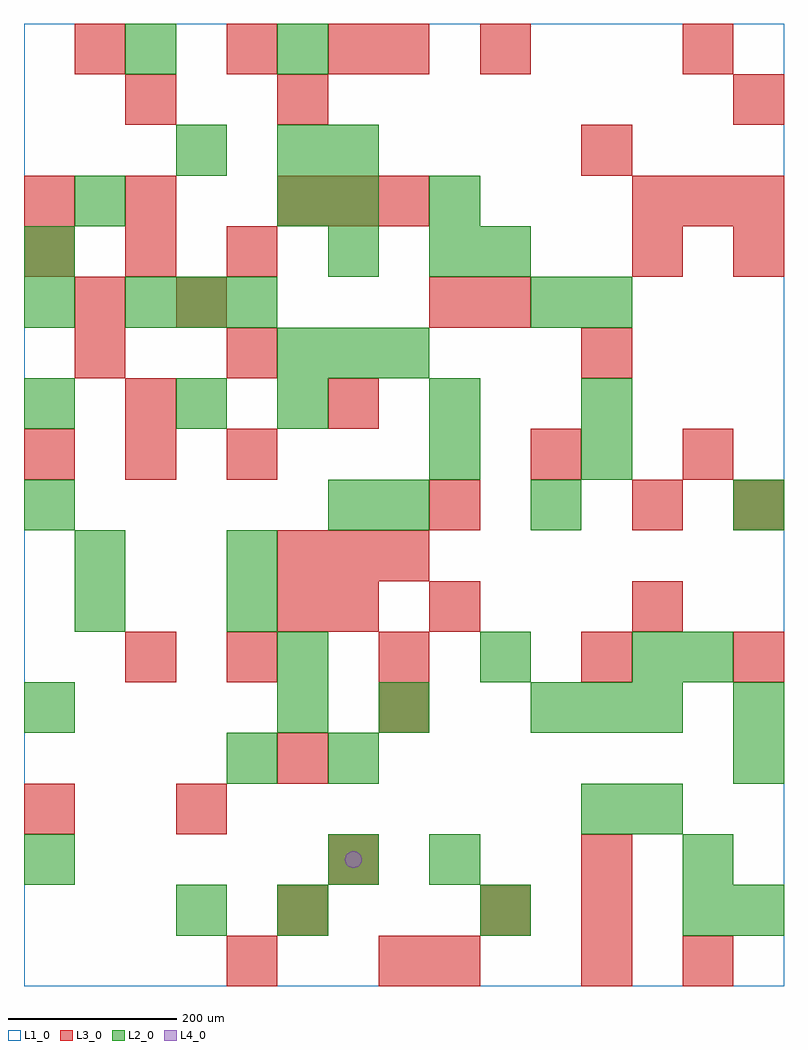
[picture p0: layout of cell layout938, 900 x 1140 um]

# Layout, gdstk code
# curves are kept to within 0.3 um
import gdstk
lib = gdstk.Library(unit=1e-6, precision=1e-09)
def R(c, l, rs):  # rectangles x0, y0, x1, y1
    for r in rs: c.add(gdstk.rectangle(r[:2], r[2:], *l))
def A(c, l, x, y, w, h, nx, ny, dx, dy):  # array of equal rectangles
    R(c, l, [(x+i*dx, y+j*dy, x+i*dx+w, y+j*dy+h) for i in range(nx) for j in range(ny)])
def P(c, l, *ps):  # polygons
    for p in ps: c.add(gdstk.Polygon(p, *l))
L1_0 = (1, 0)
L2_0 = (2, 0)
L3_0 = (3, 0)
L4_0 = (4, 0)

layout938 = lib.new_cell('layout938')
R(layout938, L1_0, [(0,0,900,1140)])
A(layout938, L2_0, 300, 60, 60, 60, 3, 1, 240, 0)
A(layout938, L2_0, 360, 240, 60, 60, 1, 3, 0, 300)
A(layout938, L2_0, 600, 300, 60, 60, 3, 1, 60, 0)
A(layout938, L2_0, 0, 540, 60, 60, 1, 3, 0, 120)
A(layout938, L2_0, 300, 660, 60, 60, 3, 1, 180, 0)
A(layout938, L2_0, 300, 720, 60, 60, 3, 1, 60, 0)
A(layout938, L2_0, 120, 780, 60, 60, 3, 1, 60, 0)
R(layout938, L2_0, [(180,60,240,120), (840,60,900,120), (0,120,60,180), (360,120,420,180), (480,120,540,180), (780,120,840,180), (660,180,720,240), (720,180,780,240), (240,240,300,300), (840,240,900,300), (0,300,60,360), (300,300,360,360), (420,300,480,360), (840,300,900,360), (300,360,360,420), (540,360,600,420), (720,360,780,420), (780,360,840,420), (60,420,120,480), (240,420,300,480), (60,480,120,540), (240,480,300,540), (420,540,480,600), (600,540,660,600), (840,540,900,600), (480,600,540,660), (660,600,720,660), (180,660,240,720), (600,780,660,840), (660,780,720,840), (0,840,60,900), (480,840,540,900), (540,840,600,900), (60,900,120,960), (300,900,360,960), (360,900,420,960), (480,900,540,960), (180,960,240,1020), (300,960,360,1020), (360,960,420,1020), (120,1080,180,1140), (300,1080,360,1140)])
A(layout938, L3_0, 240, 0, 60, 60, 1, 4, 0, 360)
A(layout938, L3_0, 660, 0, 60, 60, 1, 3, 0, 60)
A(layout938, L3_0, 300, 60, 60, 60, 1, 3, 0, 180)
A(layout938, L3_0, 300, 480, 60, 60, 3, 2, 60, 420)
A(layout938, L3_0, 0, 600, 60, 60, 3, 2, 120, 240)
A(layout938, L3_0, 720, 900, 60, 60, 3, 1, 60, 0)
R(layout938, L3_0, [(420,0,480,60), (480,0,540,60), (780,0,840,60), (540,60,600,120), (360,120,420,180), (0,180,60,240), (180,180,240,240), (420,300,480,360), (120,360,180,420), (420,360,480,420), (660,360,720,420), (840,360,900,420), (360,420,420,480), (480,420,540,480), (720,420,780,480), (480,540,540,600), (720,540,780,600), (840,540,900,600), (600,600,660,660), (780,600,840,660), (120,660,180,720), (360,660,420,720), (60,720,120,780), (660,720,720,780), (60,780,120,840), (180,780,240,840), (480,780,540,840), (540,780,600,840), (720,840,780,900), (840,840,900,900), (0,900,60,960), (120,900,180,960), (660,960,720,1020), (120,1020,180,1080), (300,1020,360,1080), (840,1020,900,1080), (60,1080,120,1140), (360,1080,420,1140), (420,1080,480,1140), (540,1080,600,1140), (780,1080,840,1140)])
P(layout938, L4_0, [(400,150),(399.239,153.827),(397.071,157.071),(393.827,159.239),(390,160),(386.173,159.239),(382.929,157.071),(380.761,153.827),(380,150),(380.761,146.173),(382.929,142.929),(386.173,140.761),(390,140),(393.827,140.761),(397.071,142.929),(399.239,146.173)])

lib.write_gds('layout938.gds')
